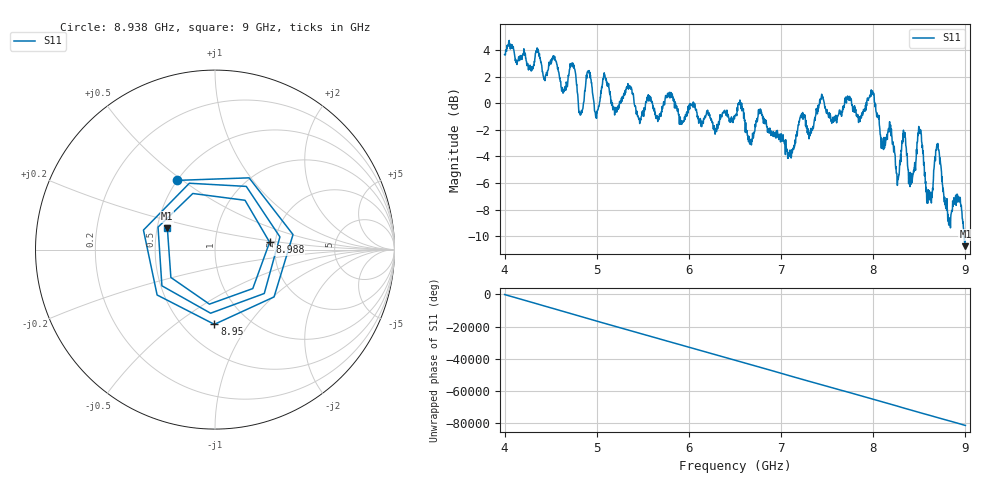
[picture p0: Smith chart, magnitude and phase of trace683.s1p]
! Created with skrf 1.8.0 (http://scikit-rf.org).
# Hz S RI R 50.0
!freq ReS11 ImS11
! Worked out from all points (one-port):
!   1601 points, 4 GHz to 9 GHz, reference 50 ohm
!   lowest |S11| = -10.7 dB at 9 GHz (marker M1), VSWR 1.82, Z = 28.3 + j7.32 ohm
!   |S11| at or under -10 dB: 8.985477 GHz to end of sweep
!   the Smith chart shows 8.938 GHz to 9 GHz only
!   S11 on the Smith chart (normalised r, x): 8.938 GHz: 0.50, +0.48; 8.95 GHz: 0.70, -0.71; 8.988 GHz: 1.86, +0.17; 9 GHz: 0.57, +0.15
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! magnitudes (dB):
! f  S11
! 4 GHz  3.6
! 4.538 GHz  3.4
! 4.625 GHz  1.2
! 4.734 GHz  3.0
! 4.825 GHz  -0.8
! 4.909 GHz  2.3
! 4.997 GHz  -1.1
! 5.084 GHz  2.1
! 5.25 GHz  0.1
! 5.875 GHz  -0.6
! 6.5 GHz  -0.9
! 7.125 GHz  -3.4
! 7.438 GHz  0.5
! 7.562 GHz  -1.1
! 7.75 GHz  0.3
! 7.988 GHz  0.8
! 8.259 GHz  -5.7
! 8.331 GHz  -2.4
! 8.375 GHz  -4.8
! 8.422 GHz  -6.0
! 8.503 GHz  -1.9
! 8.606 GHz  -6.6
! 8.694 GHz  -3.1
! 8.812 GHz  -8.4
! 8.938 GHz  -7.1
! 8.95 GHz  -7.6
! 8.988 GHz  -10.3
! 9 GHz  -10.7
